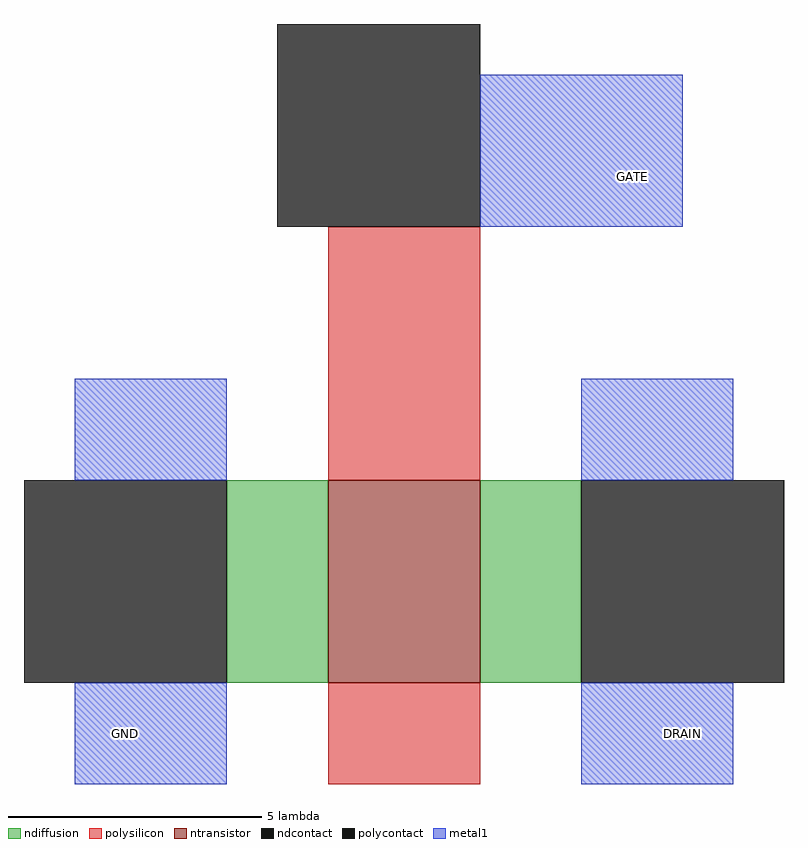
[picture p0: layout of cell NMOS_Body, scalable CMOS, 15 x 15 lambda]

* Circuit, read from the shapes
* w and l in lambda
.subckt NMOS_Body DRAIN GATE GND
M1 DRAIN GATE GND VSUBS nfet w=4 l=3
.ends

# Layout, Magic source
magic
tech scmos
<< polysilicon >>
rect -2 2 1 7
rect -2 -4 1 -2
<< ndiffusion >>
rect -4 -2 -2 2
rect 1 -2 3 2
<< metal1 >>
rect 1 7 5 10
rect -7 2 -4 4
rect -7 -4 -4 -2
rect 3 2 6 4
rect 3 -4 6 -2
<< ntransistor >>
rect -2 -2 1 2
<< polycontact >>
rect -3 7 1 11
<< ndcontact >>
rect -8 -2 -4 2
rect 3 -2 7 2
<< labels >>
rlabel metal1 4 8 4 8 5 GATE
rlabel metal1 5 -3 5 -3 1 DRAIN
rlabel metal1 -6 -3 -6 -3 2 GND
<< end >>
